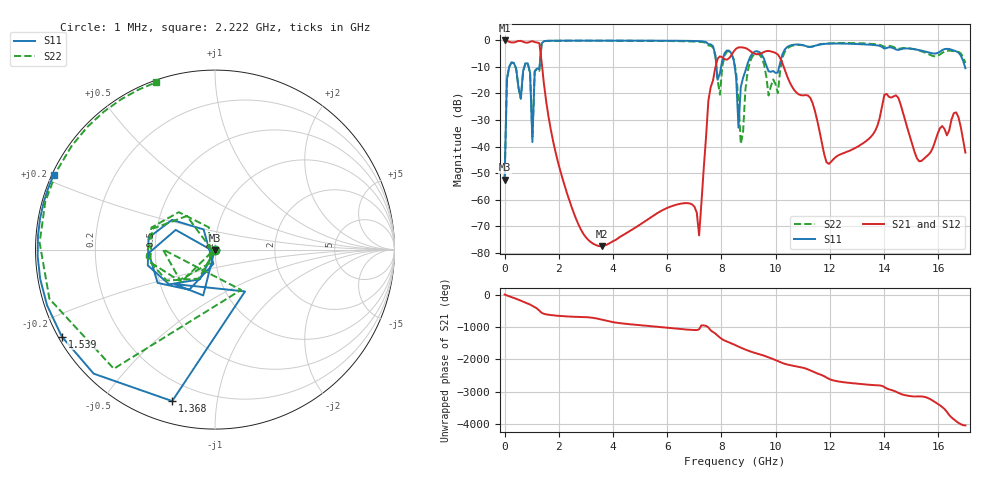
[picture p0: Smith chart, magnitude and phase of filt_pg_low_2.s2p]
# GHz S RI R 50
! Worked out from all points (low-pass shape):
!   200 points, 1 MHz to 17 GHz, reference 50 ohm
!   highest |S21| = -0.01 dB at 1 MHz (marker M1); lowest = -77.6 dB at 3.589 GHz (marker M2)
!   |S21| within 3 dB of the highest: start of sweep to 1.306 GHz; 8.556 GHz to 8.912 GHz (356 MHz wide, 4.08 % of centre)
!   lowest |S11| = -52.5 dB at 1 MHz (marker M3), VSWR 1.00, Z = 50.1 - j0.224 ohm
!   |S11| at or under -10 dB: 887.6 MHz to 1.29 GHz (402.2 MHz wide, 36.9 % of centre); 8.49 GHz to 8.929 GHz (438.8 MHz wide, 5.04 % of centre); 9.677 GHz to 10.13 GHz (452.4 MHz wide, 4.57 % of centre)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
!   |S22| runs from -52.5 to -0.1 dB; largest |S21 - S12| = 2.2e-13
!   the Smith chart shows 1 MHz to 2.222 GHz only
!   S11 on the Smith chart (normalised r, x): 1 MHz: 1.00, -0.00; 1.368 GHz: 0.10, -0.75; 1.539 GHz: 0.01, -0.26; 2.222 GHz: 0.00, +0.22
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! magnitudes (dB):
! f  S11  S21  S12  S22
! 1 MHz  -52.5  0.0  0.0  -52.5
! 86.42 MHz  -14.6  -0.2  -0.2  -14.6
! 171.8 MHz  -9.9  -0.5  -0.5  -9.9
! 855.2 MHz  -8.6  -0.8  -0.8  -8.7
! 1.026 GHz  -38.3  -0.3  -0.3  -36.3
! 1.111 GHz  -11.6  -0.6  -0.6  -11.6
! 1.368 GHz  -1.1  -8.2  -8.2  -1.2
! 1.539 GHz  -0.2  -23.3  -23.3  -0.2
! 2.222 GHz  -0.1  -55.0  -55.0  -0.1
! 2.905 GHz  -0.1  -72.9  -72.9  -0.1
! 3.589 GHz  -0.1  -77.6  -77.6  -0.1
! 5.724 GHz  -0.1  -64.6  -64.6  -0.2
! 7.176 GHz  -0.3  -73.5  -73.5  -0.5
! 7.604 GHz  -1.5  -17.6  -17.6  -2.0
! 8.543 GHz  -13.9  -3.1  -3.1  -12.2
! 8.629 GHz  -32.9  -2.6  -2.6  -22.6
! 8.714 GHz  -17.6  -2.6  -2.6  -39.0
! 9.141 GHz  -4.9  -4.6  -4.6  -6.1
! 11.36 GHz  -2.3  -23.6  -23.6  -2.2
! 11.96 GHz  -1.2  -46.5  -46.5  -1.1
! 14.18 GHz  -2.6  -21.3  -21.3  -2.0
! 17 GHz  -10.5  -42.3  -42.3  -8.5
